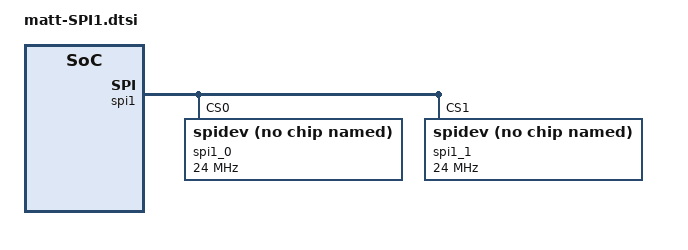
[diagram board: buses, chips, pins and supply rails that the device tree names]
#include <dt-bindings/board/am335x-bbw-bbb-base.h>
#include <dt-bindings/pinctrl/am33xx.h>


&am33xx_pinmux {
	spi1_pins: pinmux_spi1_pins {
		pinctrl-single,pins = <
			BONE_P9_31  (PIN_INPUT_PULLUP  | MUX_MODE3)   /* P9_31: mcasp0_aclkx.spi1_sclk */		
			BONE_P9_29  (PIN_INPUT_PULLUP  | MUX_MODE3)   /* P9_29: mcasp0_fsx.spi1_d0 */
			BONE_P9_30  (PIN_OUTPUT_PULLUP | MUX_MODE3)   /* P9_30: mcasp0_axr0.spi1_d1 */
			BONE_P9_28  (PIN_OUTPUT_PULLUP | MUX_MODE3)   /* P9_28: mcasp0_ahclkr.spi1_cs0 */
			BONE_P9_42A (PIN_OUTPUT_PULLUP | MUX_MODE2)   /* P9_42: ecap0_in_pwm0_out.spi1_cs1 */
		>;
	};
};

&spi1 {
	pinctrl-names = "default";
	pinctrl-0 = <&spi1_pins>;
	status = "okay";

	spi1_0 {
		#address-cells = <1>;
		#size-cells = <0>;
		reg = <0>;
		spi-max-frequency = <24000000>;
		compatible = "spidev";
	};

	spi1_1 {
		#address-cells = <1>;
		#size-cells = <0>;
		reg = <1>;
		spi-max-frequency = <24000000>;
		compatible = "spidev";
	};
};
